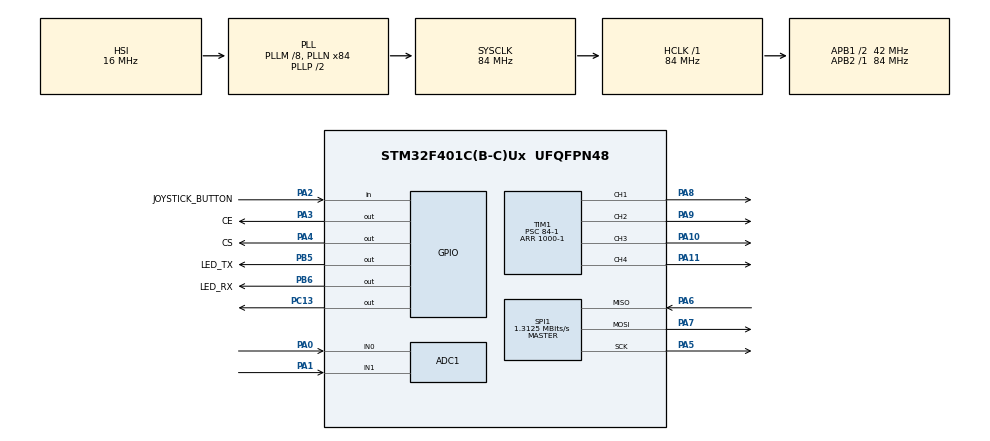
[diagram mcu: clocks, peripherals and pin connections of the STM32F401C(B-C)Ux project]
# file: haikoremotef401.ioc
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ADC1.Channel-0\#ChannelRegularConversion=ADC_CHANNEL_0
ADC1.Channel-1\#ChannelRegularConversion=ADC_CHANNEL_1
ADC1.ContinuousConvMode=ENABLE
ADC1.DMAContinuousRequests=ENABLE
ADC1.NbrOfConversion=2
ADC1.NbrOfConversionFlag=1
ADC1.Rank-0\#ChannelRegularConversion=1
ADC1.Rank-1\#ChannelRegularConversion=2
ADC1.SamplingTime-0\#ChannelRegularConversion=ADC_SAMPLETIME_144CYCLES
ADC1.SamplingTime-1\#ChannelRegularConversion=ADC_SAMPLETIME_144CYCLES
ADC1.ScanConvMode=ENABLE
ADC1.master=1
Dma.ADC1.0.Direction=DMA_PERIPH_TO_MEMORY
Dma.ADC1.0.FIFOMode=DMA_FIFOMODE_DISABLE
Dma.ADC1.0.Instance=DMA2_Stream0
Dma.ADC1.0.MemDataAlignment=DMA_MDATAALIGN_HALFWORD
Dma.ADC1.0.MemInc=DMA_MINC_ENABLE
Dma.ADC1.0.Mode=DMA_CIRCULAR
Dma.ADC1.0.PeriphDataAlignment=DMA_PDATAALIGN_HALFWORD
Dma.ADC1.0.PeriphInc=DMA_PINC_DISABLE
Dma.ADC1.0.Priority=DMA_PRIORITY_LOW
Dma.Request0=ADC1
Mcu.Family=STM32F4
Mcu.Name=STM32F401C(B-C)Ux
Mcu.Package=UFQFPN48
NVIC.ADC_IRQn=true\:0\:0\:false\:false\:true\:true\:true\:true
NVIC.DMA2_Stream0_IRQn=true\:0\:0\:false\:false\:true\:false\:true\:true
NVIC.PriorityGroup=NVIC_PRIORITYGROUP_4
PA0-WKUP.Signal=ADCx_IN0
PA1.Signal=ADCx_IN1
PA10.Signal=S_TIM1_CH3
PA11.Signal=S_TIM1_CH4
PA13.Mode=Serial_Wire
PA13.Signal=SYS_JTMS-SWDIO
PA14.Mode=Serial_Wire
PA14.Signal=SYS_JTCK-SWCLK
PA2.GPIO_Label=JOYSTICK_BUTTON
PA2.GPIO_PuPd=GPIO_PULLUP
PA2.Signal=GPIO_Input
PA3.GPIO_Label=CE
PA3.Signal=GPIO_Output
PA4.GPIO_Label=CS
PA4.Signal=GPIO_Output
PA5.Mode=Full_Duplex_Master
PA5.Signal=SPI1_SCK
PA6.Mode=Full_Duplex_Master
PA6.Signal=SPI1_MISO
PA7.Mode=Full_Duplex_Master
PA7.Signal=SPI1_MOSI
PA8.Signal=S_TIM1_CH1
PA9.Signal=S_TIM1_CH2
PB5.GPIO_Label=LED_TX
PB5.Signal=GPIO_Output
PB6.GPIO_Label=LED_RX
PB6.Signal=GPIO_Output
PC13-ANTI_TAMP.Signal=GPIO_Output
PH0\ -\ OSC_IN.Mode=HSE-External-Oscillator
PH0\ -\ OSC_IN.Signal=RCC_OSC_IN
PH1\ -\ OSC_OUT.Mode=HSE-External-Oscillator
PH1\ -\ OSC_OUT.Signal=RCC_OSC_OUT
ProjectManager.HeapSize=0x200
ProjectManager.StackSize=0x400
ProjectManager.TargetToolchain=STM32CubeIDE
RCC.48MHZClocksFreq_Value=42000000
RCC.AHBFreq_Value=84000000
RCC.APB1CLKDivider=RCC_HCLK_DIV2
RCC.APB1Freq_Value=42000000
RCC.APB1TimFreq_Value=84000000
RCC.APB2Freq_Value=84000000
RCC.APB2TimFreq_Value=84000000
RCC.CortexFreq_Value=84000000
RCC.HCLKFreq_Value=84000000
RCC.HSE_VALUE=25000000
RCC.HSI_VALUE=16000000
RCC.LSE_VALUE=32768
RCC.PLLM=8
RCC.PLLN=84
RCC.SYSCLKFreq_VALUE=84000000
RCC.SYSCLKSource=RCC_SYSCLKSOURCE_PLLCLK
RCC.VCOOutputFreq_Value=168000000
SH.ADCx_IN0.0=ADC1_IN0,IN0
SH.ADCx_IN1.0=ADC1_IN1,IN1
SH.S_TIM1_CH1.0=TIM1_CH1,PWM Generation1 CH1
SH.S_TIM1_CH2.0=TIM1_CH2,PWM Generation2 CH2
SH.S_TIM1_CH3.0=TIM1_CH3,PWM Generation3 CH3
SH.S_TIM1_CH4.0=TIM1_CH4,PWM Generation4 CH4
SPI1.BaudRatePrescaler=SPI_BAUDRATEPRESCALER_64
SPI1.CalculateBaudRate=1.3125 MBits/s
SPI1.Direction=SPI_DIRECTION_2LINES
SPI1.Mode=SPI_MODE_MASTER
SPI1.VirtualType=VM_MASTER
TIM1.AutoReloadPreload=TIM_AUTORELOAD_PRELOAD_ENABLE
TIM1.Channel-PWM\ Generation1\ CH1=TIM_CHANNEL_1
TIM1.Channel-PWM\ Generation2\ CH2=TIM_CHANNEL_2
TIM1.Channel-PWM\ Generation3\ CH3=TIM_CHANNEL_3
TIM1.Channel-PWM\ Generation4\ CH4=TIM_CHANNEL_4
TIM1.Period=1000-1
TIM1.Prescaler=84-1
VP_TIM1_VS_ClockSourceINT.Mode=Internal
board=custom

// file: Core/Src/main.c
/* USER CODE BEGIN Header */
/**
  ******************************************************************************
  * @file           : main.c
  * @brief          : Main program body
  ******************************************************************************
  * @attention
  *
  * Copyright (c) 2024 STMicroelectronics.
  * All rights reserved.
  *
  * This software is licensed under terms that can be found in the LICENSE file
  * in the root directory of this software component.
  * If no LICENSE file comes with this software, it is provided AS-IS.
  *
  ******************************************************************************
  */
/* USER CODE END Header */
#include "main.h"

/* USER CODE BEGIN Includes */
#include "NRF24L01.h"
/* USER CODE END Includes */

ADC_HandleTypeDef hadc1;
DMA_HandleTypeDef hdma_adc1;

SPI_HandleTypeDef hspi1;

TIM_HandleTypeDef htim1;

/* USER CODE BEGIN PV */
uint16_t adc_val[2];
int16_t stick_val[2];
uint8_t adc_channel = 2;

uint8_t TxAddress[] = {0xEE, 0xDD, 0xCC, 0xBB, 0xAA};
uint8_t TxData[32];

uint8_t RxAddress[] = {0xEE, 0xDD, 0xCC, 0xBB, 0xAA};
uint8_t RxData[32];

uint8_t pinsatate;

int16_t m1_speed, m2_speed;

/* USER CODE END PV */

void SystemClock_Config(void);
static void MX_GPIO_Init(void);
static void MX_DMA_Init(void);
static void MX_ADC1_Init(void);
static void MX_SPI1_Init(void);
static void MX_TIM1_Init(void);

/* USER CODE BEGIN 0 */
int16_t center_set(uint16_t val){
	return val - 100;
}

uint32_t MAP(uint32_t au32_IN, uint32_t au32_INmin, uint32_t au32_INmax, uint32_t au32_OUTmin, uint32_t au32_OUTmax)
{
    return ((((au32_IN - au32_INmin)*(au32_OUTmax - au32_OUTmin))/(au32_INmax - au32_INmin)) + au32_OUTmin);
}
/* USER CODE END 0 */

int main(void)
{

  /* MCU Configuration--------------------------------------------------------*/

  /* Reset of all peripherals, Initializes the Flash interface and the Systick. */
  HAL_Init();

  /* Configure the system clock */
  SystemClock_Config();

  /* Initialize all configured peripherals */
  MX_GPIO_Init();
  MX_DMA_Init();
  MX_ADC1_Init();
  MX_SPI1_Init();
  MX_TIM1_Init();
  /* USER CODE BEGIN 2 */
  HAL_ADC_Start_DMA(&hadc1,(uint32_t*) adc_val, adc_channel);

  NRF24_Init();

  NRF24_TxMode(TxAddress, 10);

  HAL_TIM_PWM_Start(&htim1, TIM_CHANNEL_1);
  HAL_TIM_PWM_Start(&htim1, TIM_CHANNEL_2);
  HAL_TIM_PWM_Start(&htim1, TIM_CHANNEL_3);
  HAL_TIM_PWM_Start(&htim1, TIM_CHANNEL_4);

  HAL_GPIO_TogglePin(LED_RX_GPIO_Port, LED_RX_Pin);

  //HAL_GPIO_TogglePin(LED_TX_GPIO_Port, LED_TX_Pin);
  /* USER CODE END 2 */

  /* Infinite loop */
  /* USER CODE BEGIN WHILE */

  while (1)
  {

	  pinsatate = HAL_GPIO_ReadPin(JOYSTICK_BUTTON_GPIO_Port, JOYSTICK_BUTTON_Pin);
	  if(pinsatate == 0){
		  HAL_GPIO_WritePin(LED_RX_GPIO_Port, LED_RX_Pin, SET);
	  }
	  else{
		  HAL_GPIO_WritePin(LED_RX_GPIO_Port, LED_RX_Pin, RESET);
	  }

	  stick_val[0] = center_set(MAP(adc_val[0], 0, 4095, 0, 201));
	  if(stick_val[0] > 100){
		  stick_val[0] = 100;
	  }
	  if(stick_val[0] < -100){
		  stick_val[0] = -100;
	  }
	  if(stick_val[0] >= 5){
		  htim1.Instance->CCR4 = ((float)(stick_val[0]/100.0f))*(htim1.Instance->ARR);
	  }
	  else{
		  htim1.Instance->CCR4 = 0;
	  }
	  if(stick_val[0] <= -5){
		  htim1.Instance->CCR3 = ((float)((~(stick_val[0]) + 1)/100.0f))*(htim1.Instance->ARR);
	  }
	  else{
		  htim1.Instance->CCR3 = 0;
	  }

	  stick_val[1] = center_set(MAP(adc_val[1], 0, 4095, 0, 201));
	  if(stick_val[1] > 100){
		  stick_val[1] = 100;
	  }
	  if(stick_val[1] < -100){
		  stick_val[1] = -100;
	  }
	  if(stick_val[1] >= 5){
		  htim1.Instance->CCR2 = ((float)(stick_val[1]/100.0f))*(htim1.Instance->ARR);
	  }
	  else{
		  htim1.Instance->CCR2 = 0;
	  }
	  if(stick_val[1] <= -5){
		  htim1.Instance->CCR1 = ((float)((~(stick_val[1]) + 1)/100.0f))*(htim1.Instance->ARR);
	  }
	  else{
		  htim1.Instance->CCR1 = 0;
	  }

	  if(pinsatate == 1){
		  if(stick_val[0] >= 2){
			  if(stick_val[1] > 0){
				  m1_speed = stick_val[0];
				  m2_speed = stick_val[0] - stick_val[1];
			  }
			  else if(stick_val[1] < 0){
				  m1_speed = stick_val[0] + stick_val[1];
				  m2_speed = stick_val[0];
			  }
			  else{
				  m1_speed = stick_val[0];
				  m2_speed = stick_val[0];
			  }
			  if(m1_speed < 0){
				  m1_speed = 0;
			  }
			  else if(m2_speed < 0){
				  m2_speed = 0;
			  }
		  }
		  if(stick_val[0] <= -2){
			  if(stick_val[1] > 0){
				  m1_speed = stick_val[0];
				  m2_speed = stick_val[0] + stick_val[1];;
			  }
			  else if(stick_val[1] < 0){
				  m1_speed = stick_val[0] - stick_val[1];;
				  m2_speed = stick_val[0];
			  }
			  else{
				  m1_speed = stick_val[0];
				  m2_speed = stick_val[0];
			  }
			  if(m1_speed > 0){
				  m1_speed = 0;
			  }
			  else if(m2_speed > 0){
				  m2_speed = 0;
			  }
		  }

		  if((stick_val[0] < 2) && (stick_val[0] > -2)){
			  m1_speed = 0;
			  m2_speed = 0;
		  }
	  }
	  else if(pinsatate == 0){
		  if(stick_val[1] > 1){
			  m1_speed = stick_val[1];
			  m2_speed = -stick_val[1];
		  }
		  if(stick_val[1] < -1){
			  m1_speed = stick_val[1];
			  m2_speed = -stick_val[1];
		  }
		  if((stick_val[1] <= 1) && (stick_val[1] >= -1)){
			  m1_speed = 0;
			  m2_speed = 0;
		  }
	  }

	  if(m1_speed > 100){
		  m1_speed = 100;
	  }
	  if(m1_speed < -100){
		  m1_speed = -100;
	  }
	  if(m2_speed > 100){
		  m2_speed = 100;
	  }
	  if(m2_speed < -100){
		  m2_speed = -100;
	  }

	  TxData[0] = (uint8_t) (m1_speed >> 8);
	  TxData[1] = (uint8_t) (m1_speed & 0x00FF);

	  TxData[3] = (uint8_t) (m2_speed >> 8);
	  TxData[4] = (uint8_t) (m2_speed & 0x00FF);
	  if(NRF24_Transmit(TxData) == 1){
		  HAL_GPIO_WritePin(LED_TX_GPIO_Port, LED_TX_Pin, SET);
	  }
	  else{
		  HAL_GPIO_WritePin(LED_TX_GPIO_Port, LED_TX_Pin, RESET);
	  }

    /* USER CODE END WHILE */

  }
}

void SystemClock_Config(void)
{
  RCC_OscInitTypeDef RCC_OscInitStruct = {0};
  RCC_ClkInitTypeDef RCC_ClkInitStruct = {0};

  /** Configure the main internal regulator output voltage
  */
  __HAL_RCC_PWR_CLK_ENABLE();
  __HAL_PWR_VOLTAGESCALING_CONFIG(PWR_REGULATOR_VOLTAGE_SCALE2);

  /** Initializes the RCC Oscillators according to the specified parameters
  * in the RCC_OscInitTypeDef structure.
  */
  RCC_OscInitStruct.OscillatorType = RCC_OSCILLATORTYPE_HSI;
  RCC_OscInitStruct.HSIState = RCC_HSI_ON;
  RCC_OscInitStruct.HSICalibrationValue = RCC_HSICALIBRATION_DEFAULT;
  RCC_OscInitStruct.PLL.PLLState = RCC_PLL_ON;
  RCC_OscInitStruct.PLL.PLLSource = RCC_PLLSOURCE_HSI;
  RCC_OscInitStruct.PLL.PLLM = 8;
  RCC_OscInitStruct.PLL.PLLN = 84;
  RCC_OscInitStruct.PLL.PLLP = RCC_PLLP_DIV2;
  RCC_OscInitStruct.PLL.PLLQ = 4;
  if (HAL_RCC_OscConfig(&RCC_OscInitStruct) != HAL_OK)
  {
    Error_Handler();
  }

  /** Initializes the CPU, AHB and APB buses clocks
  */
  RCC_ClkInitStruct.ClockType = RCC_CLOCKTYPE_HCLK|RCC_CLOCKTYPE_SYSCLK
                              |RCC_CLOCKTYPE_PCLK1|RCC_CLOCKTYPE_PCLK2;
  RCC_ClkInitStruct.SYSCLKSource = RCC_SYSCLKSOURCE_PLLCLK;
  RCC_ClkInitStruct.AHBCLKDivider = RCC_SYSCLK_DIV1;
  RCC_ClkInitStruct.APB1CLKDivider = RCC_HCLK_DIV2;
  RCC_ClkInitStruct.APB2CLKDivider = RCC_HCLK_DIV1;

  if (HAL_RCC_ClockConfig(&RCC_ClkInitStruct, FLASH_LATENCY_2) != HAL_OK)
  {
    Error_Handler();
  }
}

static void MX_ADC1_Init(void)
{

  ADC_ChannelConfTypeDef sConfig = {0};

  /** Configure the global features of the ADC (Clock, Resolution, Data Alignment and number of conversion)
  */
  hadc1.Instance = ADC1;
  hadc1.Init.ClockPrescaler = ADC_CLOCK_SYNC_PCLK_DIV4;
  hadc1.Init.Resolution = ADC_RESOLUTION_12B;
  hadc1.Init.ScanConvMode = ENABLE;
  hadc1.Init.ContinuousConvMode = ENABLE;
  hadc1.Init.DiscontinuousConvMode = DISABLE;
  hadc1.Init.ExternalTrigConvEdge = ADC_EXTERNALTRIGCONVEDGE_NONE;
  hadc1.Init.ExternalTrigConv = ADC_SOFTWARE_START;
  hadc1.Init.DataAlign = ADC_DATAALIGN_RIGHT;
  hadc1.Init.NbrOfConversion = 2;
  hadc1.Init.DMAContinuousRequests = ENABLE;
  hadc1.Init.EOCSelection = ADC_EOC_SINGLE_CONV;
  if (HAL_ADC_Init(&hadc1) != HAL_OK)
  {
    Error_Handler();
  }

  /** Configure for the selected ADC regular channel its corresponding rank in the sequencer and its sample time.
  */
  sConfig.Channel = ADC_CHANNEL_0;
  sConfig.Rank = 1;
  sConfig.SamplingTime = ADC_SAMPLETIME_144CYCLES;
  if (HAL_ADC_ConfigChannel(&hadc1, &sConfig) != HAL_OK)
  {
    Error_Handler();
  }

  /** Configure for the selected ADC regular channel its corresponding rank in the sequencer and its sample time.
  */
  sConfig.Channel = ADC_CHANNEL_1;
  sConfig.Rank = 2;
  if (HAL_ADC_ConfigChannel(&hadc1, &sConfig) != HAL_OK)
  {
    Error_Handler();
  }

}

static void MX_SPI1_Init(void)
{

  /* SPI1 parameter configuration*/
  hspi1.Instance = SPI1;
  hspi1.Init.Mode = SPI_MODE_MASTER;
  hspi1.Init.Direction = SPI_DIRECTION_2LINES;
  hspi1.Init.DataSize = SPI_DATASIZE_8BIT;
  hspi1.Init.CLKPolarity = SPI_POLARITY_LOW;
  hspi1.Init.CLKPhase = SPI_PHASE_1EDGE;
  hspi1.Init.NSS = SPI_NSS_SOFT;
  hspi1.Init.BaudRatePrescaler = SPI_BAUDRATEPRESCALER_64;
  hspi1.Init.FirstBit = SPI_FIRSTBIT_MSB;
  hspi1.Init.TIMode = SPI_TIMODE_DISABLE;
  hspi1.Init.CRCCalculation = SPI_CRCCALCULATION_DISABLE;
  hspi1.Init.CRCPolynomial = 10;
  if (HAL_SPI_Init(&hspi1) != HAL_OK)
  {
    Error_Handler();
  }

}

static void MX_TIM1_Init(void)
{

  TIM_ClockConfigTypeDef sClockSourceConfig = {0};
  TIM_MasterConfigTypeDef sMasterConfig = {0};
  TIM_OC_InitTypeDef sConfigOC = {0};
  TIM_BreakDeadTimeConfigTypeDef sBreakDeadTimeConfig = {0};

  htim1.Instance = TIM1;
  htim1.Init.Prescaler = 84-1;
  htim1.Init.CounterMode = TIM_COUNTERMODE_UP;
  htim1.Init.Period = 1000-1;
  htim1.Init.ClockDivision = TIM_CLOCKDIVISION_DIV1;
  htim1.Init.RepetitionCounter = 0;
  htim1.Init.AutoReloadPreload = TIM_AUTORELOAD_PRELOAD_ENABLE;
  if (HAL_TIM_Base_Init(&htim1) != HAL_OK)
  {
    Error_Handler();
  }
  sClockSourceConfig.ClockSource = TIM_CLOCKSOURCE_INTERNAL;
  if (HAL_TIM_ConfigClockSource(&htim1, &sClockSourceConfig) != HAL_OK)
  {
    Error_Handler();
  }
  if (HAL_TIM_PWM_Init(&htim1) != HAL_OK)
  {
    Error_Handler();
  }
  sMasterConfig.MasterOutputTrigger = TIM_TRGO_RESET;
  sMasterConfig.MasterSlaveMode = TIM_MASTERSLAVEMODE_DISABLE;
  if (HAL_TIMEx_MasterConfigSynchronization(&htim1, &sMasterConfig) != HAL_OK)
  {
    Error_Handler();
  }
  sConfigOC.OCMode = TIM_OCMODE_PWM1;
  sConfigOC.Pulse = 0;
  sConfigOC.OCPolarity = TIM_OCPOLARITY_HIGH;
  sConfigOC.OCNPolarity = TIM_OCNPOLARITY_HIGH;
  sConfigOC.OCFastMode = TIM_OCFAST_DISABLE;
  sConfigOC.OCIdleState = TIM_OCIDLESTATE_RESET;
  sConfigOC.OCNIdleState = TIM_OCNIDLESTATE_RESET;
  if (HAL_TIM_PWM_ConfigChannel(&htim1, &sConfigOC, TIM_CHANNEL_1) != HAL_OK)
  {
    Error_Handler();
  }
  if (HAL_TIM_PWM_ConfigChannel(&htim1, &sConfigOC, TIM_CHANNEL_2) != HAL_OK)
  {
    Error_Handler();
  }
  if (HAL_TIM_PWM_ConfigChannel(&htim1, &sConfigOC, TIM_CHANNEL_3) != HAL_OK)
  {
    Error_Handler();
  }
  if (HAL_TIM_PWM_ConfigChannel(&htim1, &sConfigOC, TIM_CHANNEL_4) != HAL_OK)
  {
    Error_Handler();
  }
  sBreakDeadTimeConfig.OffStateRunMode = TIM_OSSR_DISABLE;
  sBreakDeadTimeConfig.OffStateIDLEMode = TIM_OSSI_DISABLE;
  sBreakDeadTimeConfig.LockLevel = TIM_LOCKLEVEL_OFF;
  sBreakDeadTimeConfig.DeadTime = 0;
  sBreakDeadTimeConfig.BreakState = TIM_BREAK_DISABLE;
  sBreakDeadTimeConfig.BreakPolarity = TIM_BREAKPOLARITY_HIGH;
  sBreakDeadTimeConfig.AutomaticOutput = TIM_AUTOMATICOUTPUT_DISABLE;
  if (HAL_TIMEx_ConfigBreakDeadTime(&htim1, &sBreakDeadTimeConfig) != HAL_OK)
  {
    Error_Handler();
  }
  HAL_TIM_MspPostInit(&htim1);

}

static void MX_DMA_Init(void)
{

  /* DMA controller clock enable */
  __HAL_RCC_DMA2_CLK_ENABLE();

  /* DMA interrupt init */
  /* DMA2_Stream0_IRQn interrupt configuration */
  HAL_NVIC_SetPriority(DMA2_Stream0_IRQn, 0, 0);
  HAL_NVIC_EnableIRQ(DMA2_Stream0_IRQn);

}

static void MX_GPIO_Init(void)
{
  GPIO_InitTypeDef GPIO_InitStruct = {0};

  /* GPIO Ports Clock Enable */
  __HAL_RCC_GPIOC_CLK_ENABLE();
  __HAL_RCC_GPIOH_CLK_ENABLE();
  __HAL_RCC_GPIOA_CLK_ENABLE();
  __HAL_RCC_GPIOB_CLK_ENABLE();

  /*Configure GPIO pin Output Level */
  HAL_GPIO_WritePin(GPIOC, GPIO_PIN_13, GPIO_PIN_RESET);

  /*Configure GPIO pin Output Level */
  HAL_GPIO_WritePin(GPIOA, CE_Pin|CS_Pin, GPIO_PIN_RESET);

  /*Configure GPIO pin Output Level */
  HAL_GPIO_WritePin(GPIOB, LED_TX_Pin|LED_RX_Pin, GPIO_PIN_RESET);

  /*Configure GPIO pin : PC13 */
  GPIO_InitStruct.Pin = GPIO_PIN_13;
  GPIO_InitStruct.Mode = GPIO_MODE_OUTPUT_PP;
  GPIO_InitStruct.Pull = GPIO_NOPULL;
  GPIO_InitStruct.Speed = GPIO_SPEED_FREQ_LOW;
  HAL_GPIO_Init(GPIOC, &GPIO_InitStruct);

  /*Configure GPIO pin : JOYSTICK_BUTTON_Pin */
  GPIO_InitStruct.Pin = JOYSTICK_BUTTON_Pin;
  GPIO_InitStruct.Mode = GPIO_MODE_INPUT;
  GPIO_InitStruct.Pull = GPIO_PULLUP;
  HAL_GPIO_Init(JOYSTICK_BUTTON_GPIO_Port, &GPIO_InitStruct);

  /*Configure GPIO pins : CE_Pin CS_Pin */
  GPIO_InitStruct.Pin = CE_Pin|CS_Pin;
  GPIO_InitStruct.Mode = GPIO_MODE_OUTPUT_PP;
  GPIO_InitStruct.Pull = GPIO_NOPULL;
  GPIO_InitStruct.Speed = GPIO_SPEED_FREQ_LOW;
  HAL_GPIO_Init(GPIOA, &GPIO_InitStruct);

  /*Configure GPIO pins : LED_TX_Pin LED_RX_Pin */
  GPIO_InitStruct.Pin = LED_TX_Pin|LED_RX_Pin;
  GPIO_InitStruct.Mode = GPIO_MODE_OUTPUT_PP;
  GPIO_InitStruct.Pull = GPIO_NOPULL;
  GPIO_InitStruct.Speed = GPIO_SPEED_FREQ_LOW;
  HAL_GPIO_Init(GPIOB, &GPIO_InitStruct);

}

void Error_Handler(void)
{
  __disable_irq();
  while (1)
  {
  }
}
